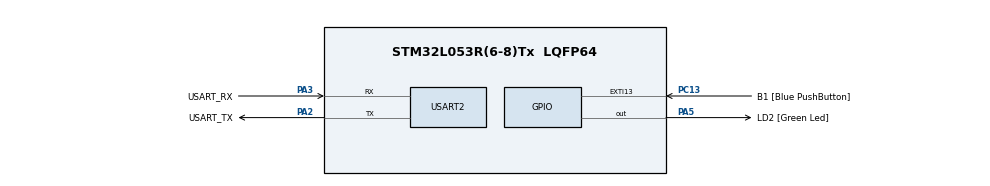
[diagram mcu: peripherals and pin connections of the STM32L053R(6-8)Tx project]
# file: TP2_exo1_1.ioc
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Mcu.Family=STM32L0
Mcu.Name=STM32L053R(6-8)Tx
Mcu.Package=LQFP64
PA13.GPIO_Label=TMS
PA13.Mode=Serial_Wire
PA13.Signal=SYS_SWDIO
PA14.GPIO_Label=TCK
PA14.Mode=Serial_Wire
PA14.Signal=SYS_SWCLK
PA2.GPIO_Label=USART_TX
PA2.Mode=Asynchronous
PA2.Signal=USART2_TX
PA3.GPIO_Label=USART_RX
PA3.Mode=Asynchronous
PA3.Signal=USART2_RX
PA5.GPIO_Label=LD2 [Green Led]
PA5.Signal=GPIO_Output
PC13.GPIO_Label=B1 [Blue PushButton]
PC13.GPIO_ModeDefaultEXTI=GPIO_MODE_IT_FALLING
PC13.Signal=GPXTI13
PC14-OSC32_IN.Mode=LSE-External-Oscillator
PC14-OSC32_IN.Signal=RCC_OSC32_IN
PC15-OSC32_OUT.Mode=LSE-External-Oscillator
PC15-OSC32_OUT.Signal=RCC_OSC32_OUT
PH0-OSC_IN.Mode=HSE-External-Clock-Source
PH0-OSC_IN.Signal=RCC_OSC_IN
PH1-OSC_OUT.Signal=RCC_OSC_OUT
ProjectManager.HeapSize=0x200
ProjectManager.StackSize=0x400
ProjectManager.TargetToolchain=STM32CubeIDE
RCC.AHBFreq_Value=16000000
RCC.APB1Freq_Value=16000000
RCC.APB1TimFreq_Value=16000000
RCC.APB2Freq_Value=16000000
RCC.APB2TimFreq_Value=16000000
RCC.HCLKFreq_Value=16000000
RCC.HSE_VALUE=8000000
RCC.HSI16_VALUE=16000000
RCC.HSI48_VALUE=48000000
RCC.HSI_VALUE=16000000
RCC.MSI_VALUE=2097000
RCC.SYSCLKFreq_VALUE=16000000
RCC.SYSCLKSource=RCC_SYSCLKSOURCE_HSI
RCC.VCOOutputFreq_Value=48000000
USART2.VirtualMode-Asynchronous=VM_ASYNC
board=NUCLEO-L053R8

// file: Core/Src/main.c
/* USER CODE BEGIN Header */
/**
  ******************************************************************************
  * @file           : main.c
  * @brief          : Main program body
  ******************************************************************************
  * @attention
  *
  * Copyright (c) 2022 STMicroelectronics.
  * All rights reserved.
  *
  * This software is licensed under terms that can be found in the LICENSE file
  * in the root directory of this software component.
  * If no LICENSE file comes with this software, it is provided AS-IS.
  *
  ******************************************************************************
  */
/* USER CODE END Header */
#include "main.h"
#include "usart.h"
#include "gpio.h"

/* USER CODE BEGIN PV */
LED_TypeDef led;
LED_TypeDef led2;
BUTTON_TypeDef bouton;
BUTTON_TypeDef bouton2;
uint8_t last_button_state=1;

/* USER CODE END PV */

void SystemClock_Config(void);
/* USER CODE BEGIN PFP */
void Bouton_Led_Polling(uint8_t *last_button_state, LED_TypeDef *led, BUTTON_TypeDef *bouton){
	uint8_t etat_courant_bouton= (Button_State(bouton))? 1:0;
	if ((*last_button_state==0) && (etat_courant_bouton!=0)){
		Led_toggle(led);
		LL_mDelay(20); //attendre 20ms
	}
	//si le bouton vient d’être relâché faire une attente
	if ((*last_button_state!=0) && (etat_courant_bouton==0)){
		LL_mDelay(20); //attendre 20ms
	}
	*last_button_state= etat_courant_bouton;
}
void EXTI2_3_IRQHandler(){
//s’il y une interruption en attente
	if ( EXTI->PR&(1<<3)){
		GPIOC->ODR^=(1<<7);
//il ne faut pas oublier de réinitialiser le flag
		EXTI->PR|=(1<<12);
	}
}

/* USER CODE END PFP */

int main(void)
{

  /* MCU Configuration--------------------------------------------------------*/

  /* Reset of all peripherals, Initializes the Flash interface and the Systick. */

  LL_APB2_GRP1_EnableClock(LL_APB2_GRP1_PERIPH_SYSCFG);
  LL_APB1_GRP1_EnableClock(LL_APB1_GRP1_PERIPH_PWR);

  /* System interrupt init*/

  /* Configure the system clock */
  SystemClock_Config();

  /* Initialize all configured peripherals */
  MX_GPIO_Init();
  MX_USART2_UART_Init();
  /* USER CODE BEGIN 2 */
  Led_init(&led,GPIOA,5);
  Button_init(&bouton, GPIOC, 13, LL_GPIO_PULL_NO);
  Led_init(&led2,GPIOC,7);
  Button_init(&bouton2, GPIOB, 3, LL_GPIO_PULL_DOWN);
  Button_enableIRQ(&bouton2,LL_EXTI_TRIGGER_RISING);
  /* USER CODE END 2 */

  /* Infinite loop */
  while (1)
  {

  }
}

void SystemClock_Config(void)
{
  LL_FLASH_SetLatency(LL_FLASH_LATENCY_0);
  while(LL_FLASH_GetLatency()!= LL_FLASH_LATENCY_0)
  {
  }
  LL_PWR_SetRegulVoltageScaling(LL_PWR_REGU_VOLTAGE_SCALE1);
  LL_RCC_HSI_Enable();

   /* Wait till HSI is ready */
  while(LL_RCC_HSI_IsReady() != 1)
  {

  }
  LL_RCC_HSI_SetCalibTrimming(16);
  LL_RCC_SetAHBPrescaler(LL_RCC_SYSCLK_DIV_1);
  LL_RCC_SetAPB1Prescaler(LL_RCC_APB1_DIV_1);
  LL_RCC_SetAPB2Prescaler(LL_RCC_APB2_DIV_1);
  LL_RCC_SetSysClkSource(LL_RCC_SYS_CLKSOURCE_HSI);

   /* Wait till System clock is ready */
  while(LL_RCC_GetSysClkSource() != LL_RCC_SYS_CLKSOURCE_STATUS_HSI)
  {

  }

  LL_Init1msTick(16000000);

  LL_SetSystemCoreClock(16000000);
  LL_RCC_SetUSARTClockSource(LL_RCC_USART2_CLKSOURCE_PCLK1);
}

void Error_Handler(void)
{
  __disable_irq();
  while (1)
  {
  }
}
